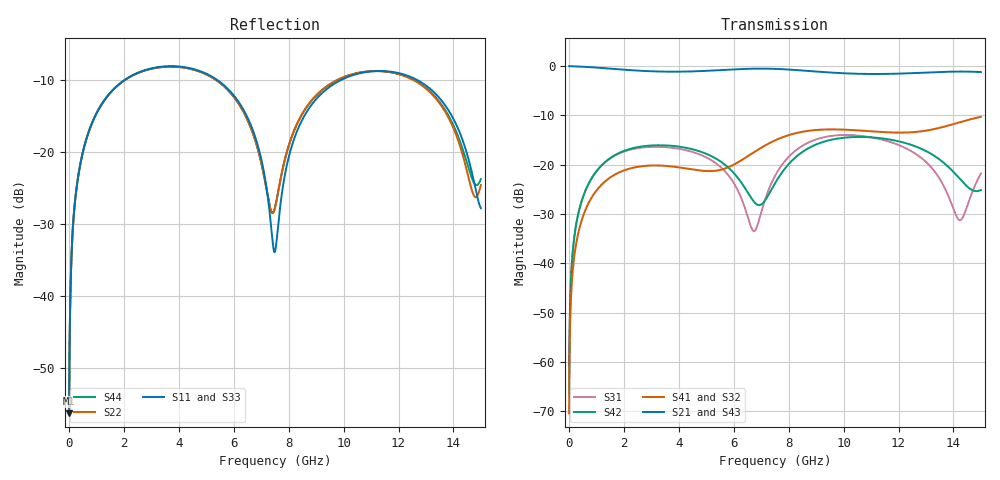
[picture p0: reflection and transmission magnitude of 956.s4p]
! Created with skrf 1.8.0 (http://scikit-rf.org).
# GHz S RI R 50.0
!freq ReS11 ImS11 ReS12 ImS12 ReS13 ImS13
! ReS14 ImS14
! ReS21 ImS21 ReS22 ImS22 ReS23 ImS23
! ReS24 ImS24
! ReS31 ImS31 ReS32 ImS32 ReS33 ImS33
! ReS34 ImS34
! ReS41 ImS41 ReS42 ImS42 ReS43 ImS43
! ReS44 ImS44
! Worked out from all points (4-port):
!   2499 points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, 5 MHz to 15 GHz, reference 50 ohm
!   strongest paths, dB at 5 MHz, 3.476 GHz, 7.19 GHz, 11.1 GHz, 15 GHz:
!     S21: 0.0, -1.1, -0.5, -1.6, -1.2
!     S43: 0.0, -1.1, -0.5, -1.6, -1.2
!     S41: -70.4, -20.2, -15.9, -13.3, -10.3
!     S32: -70.4, -20.3, -15.9, -13.4, -10.3
!     S42: -66.4, -16.1, -26.8, -14.5, -25.1
!     S31: -66.4, -16.4, -26.3, -14.5, -21.8
!   lowest |S11| = -56.4 dB at 5 MHz (marker M1), VSWR 1.00, Z = 50.1 + j0.0922 ohm
!   |S11| at or under -10 dB: start of sweep to 2.013 GHz; 5.413 GHz to 9.887 GHz (4.474 GHz wide, 58.5 % of centre); 12.7 GHz to end of sweep
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0.005  0.00121 0.000919  0.9988 -0.00236  5.92e-05 0.000473  -5.77e-05 -0.000296
       0.9988 -0.00236  0.00121 0.000919  -5.77e-05 -0.000296  5.93e-05 0.000473
       5.92e-05 0.000473  -5.77e-05 -0.000296  0.00121 0.000919  0.9988 -0.00236
       -5.77e-05 -0.000296  5.93e-05 0.000473  0.9988 -0.00236  0.00121 0.000919
0.5127136  0.0309 0.0964  0.9569 -0.2367  0.0146 0.045  -0.0124 -0.0275
           0.9569 -0.2367  0.0307 0.0964  -0.0124 -0.0275  0.0155 0.0447
           0.0146 0.045  -0.0124 -0.0275  0.0309 0.0964  0.9569 -0.2367
           -0.0124 -0.0275  0.0155 0.0447  0.9569 -0.2367  0.0307 0.0964
2.582326  0.3323 0.1418  0.3989 -0.8044  0.1411 0.0461  -0.0941 0.0191
          0.3989 -0.8044  0.3289 0.1453  -0.0939 0.0187  0.1495 0.0288
          0.1411 0.0461  -0.0939 0.0187  0.3326 0.1417  0.3988 -0.8044
          -0.0941 0.0191  0.1495 0.0288  0.3988 -0.8044  0.3288 0.1455
6.727803  0.0576 -0.1239  -0.8722 -0.3553  0.021 0.00328  -0.0441 0.126
          -0.8722 -0.3553  0.0702 -0.1092  -0.0474 0.1247  -0.0357 -0.023
          0.021 0.00328  -0.0474 0.1247  0.0576 -0.1246  -0.8722 -0.3552
          -0.0441 0.126  -0.0357 -0.023  -0.8722 -0.3552  0.0709 -0.1095
7.640684  0.0237 0.0246  -0.9343 0.025  0.0452 0.0772  0.0144 0.183
          -0.9343 0.025  0.0432 0.0359  0.00997 0.1832  -0.0125 0.0738
          0.0452 0.0772  0.00997 0.1832  0.024 0.0245  -0.9343 0.0252
          0.0144 0.183  -0.0125 0.0738  -0.9343 0.0252  0.0432 0.0351
11.22343  0.3667 0.00361  -0.0963 0.8264  0.1746 -0.0598  0.2089 -0.0557
          -0.0963 0.8264  0.3663 -0.00764  0.2074 -0.047  0.1709 -0.077
          0.1746 -0.0598  0.2074 -0.047  0.3706 -0.000936  -0.0954 0.8257
          0.2089 -0.0557  0.1709 -0.077  -0.0954 0.8257  0.3662 -0.00347
15  0.04 -0.00786  0.8656 0.1007  0.0601 0.055  0.0178 -0.3058
    0.8656 0.1007  0.051 0.0295  0.0356 -0.3041  -0.0416 0.0367
    0.0601 0.055  0.0356 -0.3041  0.0337 -0.0149  0.8654 0.1015
    0.0178 -0.3058  -0.0416 0.0367  0.8654 0.1015  0.0608 0.0225
